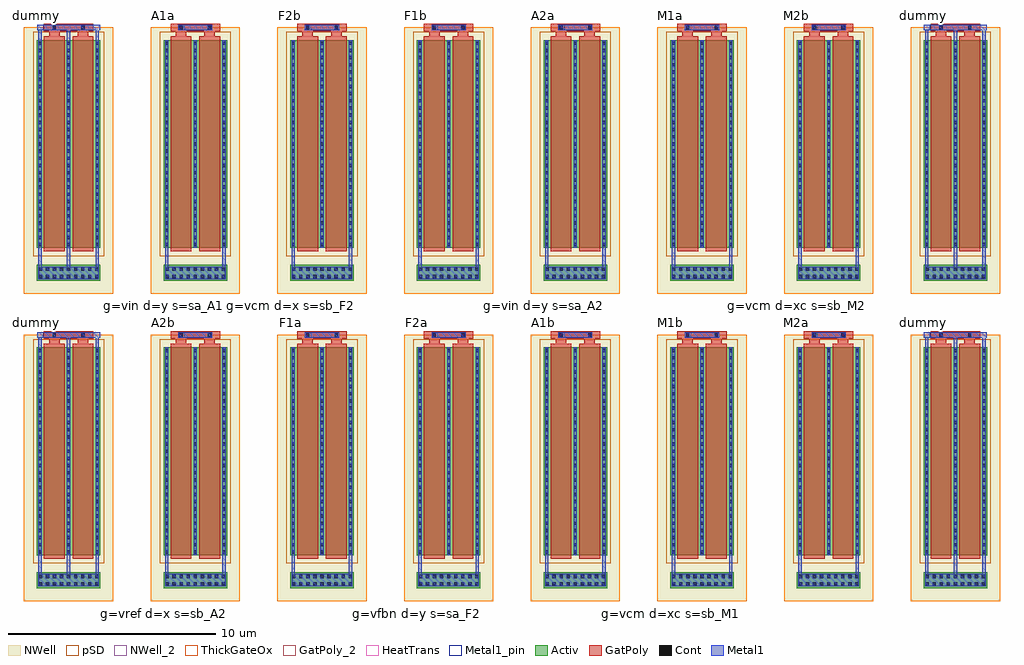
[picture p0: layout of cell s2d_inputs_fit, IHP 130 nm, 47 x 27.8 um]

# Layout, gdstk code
import gdstk
lib = gdstk.Library(unit=1e-6, precision=1e-09)
def R(c, l, rs):  # rectangles x0, y0, x1, y1
    for r in rs: c.add(gdstk.rectangle(r[:2], r[2:], *l))
def A(c, l, x, y, w, h, nx, ny, dx, dy):  # array of equal rectangles
    R(c, l, [(x+i*dx, y+j*dy, x+i*dx+w, y+j*dy+h) for i in range(nx) for j in range(ny)])
Activ = (1, 0)
GatPoly = (5, 0)
GatPoly_2 = (5, 2)
Cont = (6, 0)
Metal1 = (8, 0)
Metal1_pin = (8, 2)
pSD = (14, 0)
NWell = (31, 0)
NWell_2 = (31, 2)
ThickGateOx = (44, 0)
HeatTrans = (51, 0)

pmoshv = lib.new_cell('pmosHV')
A(pmoshv, Activ, 0, 0, 0.3, 0.3, 3, 1, 1.38, 0)
R(pmoshv, Activ, [(0,0,3.06,10)])
R(pmoshv, GatPoly, [(0.34,-0.18,1.34,10.18), (1.72,-0.18,2.72,10.18)])
R(pmoshv, GatPoly_2, [(0.34,-0.18,1.34,10.18)])
A(pmoshv, Cont, 0.07, 0.07, 0.16, 0.16, 3, 4, 1.38, 0.345)
A(pmoshv, Cont, 0.07, 1.455, 0.16, 0.16, 3, 3, 1.38, 0.345)
A(pmoshv, Cont, 0.07, 2.495, 0.16, 0.16, 3, 4, 1.38, 0.345)
A(pmoshv, Cont, 0.07, 3.88, 0.16, 0.16, 3, 3, 1.38, 0.345)
A(pmoshv, Cont, 0.07, 4.92, 0.16, 0.16, 3, 4, 1.38, 0.345)
A(pmoshv, Cont, 0.07, 6.305, 0.16, 0.16, 3, 3, 1.38, 0.345)
A(pmoshv, Cont, 0.07, 7.345, 0.16, 0.16, 3, 4, 1.38, 0.345)
A(pmoshv, Cont, 0.07, 8.73, 0.16, 0.16, 3, 3, 1.38, 0.345)
A(pmoshv, Cont, 0.07, 9.77, 0.16, 0.16, 3, 1, 1.38, 0)
A(pmoshv, Metal1, 0.07, 0, 0.16, 10, 3, 1, 1.38, 0)
R(pmoshv, Metal1_pin, [(0.07,0,0.23,10), (1.45,0,1.61,10)])
R(pmoshv, pSD, [(-0.18,-0.4,3.24,10.4)])
R(pmoshv, NWell, [(-0.62,-0.62,3.68,10.62)])
R(pmoshv, ThickGateOx, [(-0.62,-0.62,3.68,10.62)])
R(pmoshv, HeatTrans, [(0.34,-0.18,1.34,10.18), (1.72,-0.18,2.72,10.18)])
pmoshv.add(gdstk.Label('pmosHV', (0.84,5), layer=63, texttype=0))
pmoshv.add(gdstk.Label('pmos', (0.84,5), layer=51, texttype=0))
pmoshv.add(gdstk.Label('pmos', (2.22,5), layer=51, texttype=0))

ntap1 = lib.new_cell('ntap1')
R(ntap1, Activ, [(0,0,3.06,0.78)])
A(ntap1, Cont, 0.09, 0.14, 0.16, 0.16, 9, 2, 0.34, 0.34)
R(ntap1, Metal1, [(0.09,0.09,2.97,0.69)])
R(ntap1, Metal1_pin, [(0.09,0.09,2.97,0.69), (0.09,0.14,2.97,0.64)])
R(ntap1, NWell, [(-0.24,-0.24,3.3,1.02), (0,0,3.06,0.78)])
R(ntap1, NWell_2, [(0,0,3.06,0.78)])
ntap1.add(gdstk.Label('well', (1.53,0.01), layer=63, texttype=0))
ntap1.add(gdstk.Label('well', (1.53,0.01), layer=31, texttype=0))

tub_p20x1 = lib.new_cell('tub_p20x1')
R(tub_p20x1, GatPoly, [(0.59,10,1.09,10.43), (1.97,10,2.47,10.43), (0.34,10.42,2.72,10.78)])
R(tub_p20x1, Cont, [(0.76,10.52,0.92,10.68), (2.14,10.52,2.3,10.68)])
R(tub_p20x1, Metal1, [(0.07,-1.51,2.99,-0.91), (0.07,-1.01,0.23,0.05), (2.83,-1.01,2.99,0.05), (0.71,10.47,2.35,10.73)])
R(tub_p20x1, Metal1_pin, [(0.09,-1.51,0.49,-0.91), (1.45,4.75,1.61,5.25), (0.71,10.47,1.01,10.73)])
R(tub_p20x1, pSD, [(-0.18,-0.4,3.24,10.4)])
R(tub_p20x1, NWell, [(-0.62,-2.22,3.68,10.62)])
R(tub_p20x1, ThickGateOx, [(-0.62,-2.22,3.68,10.62)])
tub_p20x1.add(gdstk.Reference(pmoshv, (0,0)))
tub_p20x1.add(gdstk.Reference(ntap1, (0,-1.6)))
tub_p20x1.add(gdstk.Label('M', (0,5), layer=63, texttype=0))
tub_p20x1.add(gdstk.Label('g', (0.86,10.6), layer=8, texttype=25))
tub_p20x1.add(gdstk.Label('s', (0.29,-1.21), layer=8, texttype=25))
tub_p20x1.add(gdstk.Label('d', (1.53,5), layer=8, texttype=25))

tub_p20x1_dummy = lib.new_cell('tub_p20x1_dummy')
R(tub_p20x1_dummy, GatPoly, [(0.59,10,1.09,10.43), (1.97,10,2.47,10.43), (0.34,10.42,2.72,10.78)])
R(tub_p20x1_dummy, Cont, [(0.76,10.52,0.92,10.68), (2.14,10.52,2.3,10.68)])
A(tub_p20x1_dummy, Metal1, 0.07, -1.01, 0.16, 1.06, 3, 1, 1.38, 0)
A(tub_p20x1_dummy, Metal1, 0.07, 9.95, 0.16, 0.65, 3, 1, 1.38, 0)
R(tub_p20x1_dummy, Metal1, [(0.07,-1.51,2.99,-0.91), (0.02,10.47,3.04,10.73)])
R(tub_p20x1_dummy, Metal1_pin, [(0.09,-1.51,0.49,-0.91), (0.02,10.47,0.32,10.73)])
R(tub_p20x1_dummy, pSD, [(-0.18,-0.4,3.24,10.4)])
R(tub_p20x1_dummy, NWell, [(-0.62,-2.22,3.68,10.62)])
R(tub_p20x1_dummy, ThickGateOx, [(-0.62,-2.22,3.68,10.62)])
tub_p20x1_dummy.add(gdstk.Reference(pmoshv, (0,0)))
tub_p20x1_dummy.add(gdstk.Reference(ntap1, (0,-1.6)))
tub_p20x1_dummy.add(gdstk.Label('Mdummy', (0,5), layer=63, texttype=0))
tub_p20x1_dummy.add(gdstk.Label('s', (0.17,10.6), layer=8, texttype=25))
tub_p20x1_dummy.add(gdstk.Label('s', (0.29,-1.21), layer=8, texttype=25))

s2d_inputs_fit = lib.new_cell('s2d_inputs_fit')
s2d_inputs_fit.add(gdstk.Reference(tub_p20x1, (6.1,0)))
s2d_inputs_fit.add(gdstk.Reference(tub_p20x1, (12.2,0)))
s2d_inputs_fit.add(gdstk.Reference(tub_p20x1, (18.3,0)))
s2d_inputs_fit.add(gdstk.Reference(tub_p20x1, (24.4,0)))
s2d_inputs_fit.add(gdstk.Reference(tub_p20x1, (30.5,0)))
s2d_inputs_fit.add(gdstk.Reference(tub_p20x1, (36.6,0)))
s2d_inputs_fit.add(gdstk.Reference(tub_p20x1, (6.1,-14.8)))
s2d_inputs_fit.add(gdstk.Reference(tub_p20x1, (12.2,-14.8)))
s2d_inputs_fit.add(gdstk.Reference(tub_p20x1, (18.3,-14.8)))
s2d_inputs_fit.add(gdstk.Reference(tub_p20x1, (24.4,-14.8)))
s2d_inputs_fit.add(gdstk.Reference(tub_p20x1, (30.5,-14.8)))
s2d_inputs_fit.add(gdstk.Reference(tub_p20x1, (36.6,-14.8)))
s2d_inputs_fit.add(gdstk.Reference(tub_p20x1_dummy, (0,0)))
s2d_inputs_fit.add(gdstk.Reference(tub_p20x1_dummy, (42.7,0)))
s2d_inputs_fit.add(gdstk.Reference(tub_p20x1_dummy, (0,-14.8)))
s2d_inputs_fit.add(gdstk.Reference(tub_p20x1_dummy, (42.7,-14.8)))
s2d_inputs_fit.add(gdstk.Label('dummy', (0,11.2), layer=63, texttype=0))
s2d_inputs_fit.add(gdstk.Label('A1a', (6.1,11.2), layer=63, texttype=0))
s2d_inputs_fit.add(gdstk.Label('g=vin d=y s=sa_A1', (6.1,-2.8), layer=63, texttype=0))
s2d_inputs_fit.add(gdstk.Label('F2b', (12.2,11.2), layer=63, texttype=0))
s2d_inputs_fit.add(gdstk.Label('g=vcm d=x s=sb_F2', (12.2,-2.8), layer=63, texttype=0))
s2d_inputs_fit.add(gdstk.Label('F1b', (18.3,11.2), layer=63, texttype=0))
s2d_inputs_fit.add(gdstk.Label('g=vfbp d=x s=sb_F1', (18.3,-2.8), layer=63, texttype=0))
s2d_inputs_fit.add(gdstk.Label('A2a', (24.4,11.2), layer=63, texttype=0))
s2d_inputs_fit.add(gdstk.Label('g=vin d=y s=sa_A2', (24.4,-2.8), layer=63, texttype=0))
s2d_inputs_fit.add(gdstk.Label('M1a', (30.5,11.2), layer=63, texttype=0))
s2d_inputs_fit.add(gdstk.Label('g=vfbp d=yc s=sa_M1', (30.5,-2.8), layer=63, texttype=0))
s2d_inputs_fit.add(gdstk.Label('M2b', (36.6,11.2), layer=63, texttype=0))
s2d_inputs_fit.add(gdstk.Label('g=vcm d=xc s=sb_M2', (36.6,-2.8), layer=63, texttype=0))
s2d_inputs_fit.add(gdstk.Label('dummy', (42.7,11.2), layer=63, texttype=0))
s2d_inputs_fit.add(gdstk.Label('dummy', (0,-3.6), layer=63, texttype=0))
s2d_inputs_fit.add(gdstk.Label('A2b', (6.1,-3.6), layer=63, texttype=0))
s2d_inputs_fit.add(gdstk.Label('g=vref d=x s=sb_A2', (6.1,-17.6), layer=63, texttype=0))
s2d_inputs_fit.add(gdstk.Label('F1a', (12.2,-3.6), layer=63, texttype=0))
s2d_inputs_fit.add(gdstk.Label('g=vcm d=y s=sa_F1', (12.2,-17.6), layer=63, texttype=0))
s2d_inputs_fit.add(gdstk.Label('F2a', (18.3,-3.6), layer=63, texttype=0))
s2d_inputs_fit.add(gdstk.Label('g=vfbn d=y s=sa_F2', (18.3,-17.6), layer=63, texttype=0))
s2d_inputs_fit.add(gdstk.Label('A1b', (24.4,-3.6), layer=63, texttype=0))
s2d_inputs_fit.add(gdstk.Label('g=vref d=x s=sb_A1', (24.4,-17.6), layer=63, texttype=0))
s2d_inputs_fit.add(gdstk.Label('M1b', (30.5,-3.6), layer=63, texttype=0))
s2d_inputs_fit.add(gdstk.Label('g=vcm d=xc s=sb_M1', (30.5,-17.6), layer=63, texttype=0))
s2d_inputs_fit.add(gdstk.Label('M2a', (36.6,-3.6), layer=63, texttype=0))
s2d_inputs_fit.add(gdstk.Label('g=vfbn d=yc s=sa_M2', (36.6,-17.6), layer=63, texttype=0))
s2d_inputs_fit.add(gdstk.Label('dummy', (42.7,-3.6), layer=63, texttype=0))

lib.write_gds('s2d_inputs_fit.gds')
